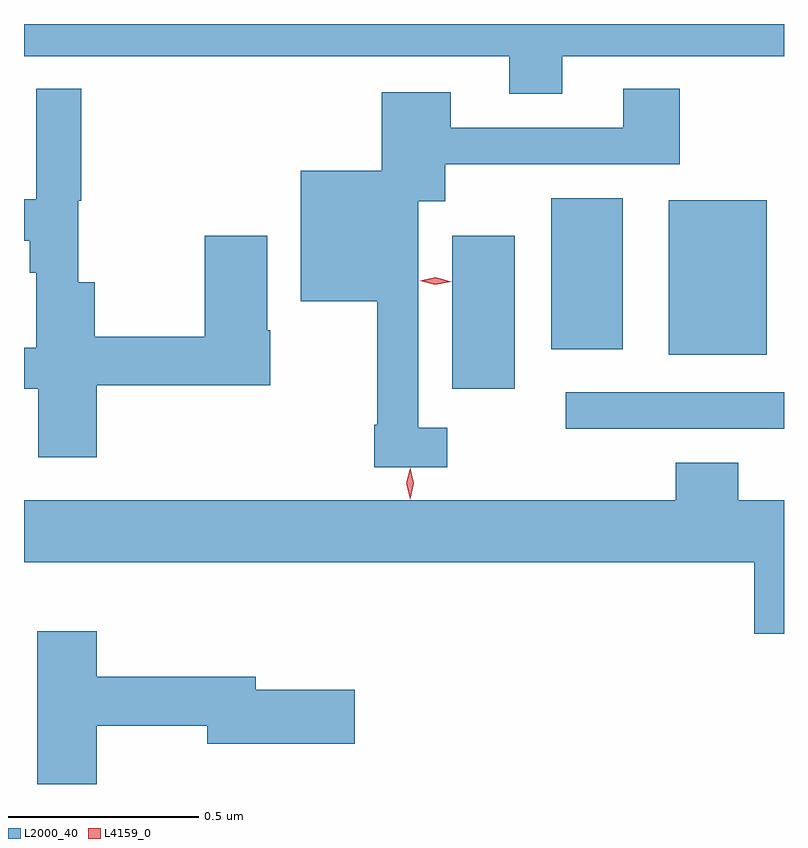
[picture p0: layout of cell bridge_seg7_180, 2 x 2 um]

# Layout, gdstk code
import gdstk
lib = gdstk.Library(unit=1e-6, precision=1e-09)
def R(c, l, rs):  # rectangles x0, y0, x1, y1
    for r in rs: c.add(gdstk.rectangle(r[:2], r[2:], *l))
def P(c, l, *ps):  # polygons
    for p in ps: c.add(gdstk.Polygon(p, *l))
L2000_40 = (2000, 40)
L4159_0 = (4159, 0)

bridge_seg7_180 = lib.new_cell('bridge_seg7_180')
R(bridge_seg7_180, L2000_40, [(452.223,1043.592,452.798,1043.688), (451.925,1043.697,452.089,1044.1), (452.495,1043.786,452.752,1044.193), (452.186,1043.801,452.374,1044.199)])
P(bridge_seg7_180, L2000_40, [(452.215,1044.572),(452.798,1044.572),(452.798,1044.657),(450.798,1044.657),(450.798,1044.572),(452.075,1044.572),(452.075,1044.473),(452.215,1044.473)],
  [(451.912,1043.595),(451.836,1043.595),(451.836,1044.191),(451.906,1044.191),(451.906,1044.288),(452.523,1044.288),(452.523,1044.487),(452.375,1044.487),(452.375,1044.384),(451.921,1044.384),(451.921,1044.478),(451.739,1044.478),(451.739,1044.271),(451.526,1044.271),(451.526,1043.927),(451.728,1043.927),(451.728,1043.602),(451.72,1043.602),(451.72,1043.49),(451.912,1043.49)],
  [(450.989,1043.706),(451.446,1043.706),(451.446,1043.851),(451.438,1043.851),(451.438,1044.1),(451.273,1044.1),(451.273,1043.834),(450.984,1043.834),(450.984,1043.977),(450.941,1043.977),(450.941,1044.192),(450.949,1044.192),(450.949,1044.487),(450.83,1044.487),(450.83,1044.196),(450.798,1044.196),(450.798,1044.087),(450.813,1044.087),(450.813,1044.002),(450.83,1044.002),(450.83,1043.805),(450.798,1043.805),(450.798,1043.697),(450.836,1043.697),(450.836,1043.517),(450.989,1043.517)],
  [(452.798,1043.404),(452.678,1043.404),(452.678,1043.503),(452.513,1043.503),(452.513,1043.404),(450.798,1043.404),(450.798,1043.24),(452.72,1043.24),(452.72,1043.052),(452.798,1043.052)],
  [(450.989,1042.81),(451.28,1042.81),(451.28,1042.763),(451.669,1042.763),(451.669,1042.905),(451.408,1042.905),(451.408,1042.939),(450.989,1042.939),(450.989,1043.059),(450.833,1043.059),(450.833,1042.657),(450.989,1042.657)])
P(bridge_seg7_180, L4159_0, [(451.88,1043.971),(451.84,1043.982),(451.84,1043.982),(451.84,1043.982),(451.881,1043.99),(451.922,1043.979),(451.922,1043.979),(451.922,1043.979)],
  [(451.814,1043.407),(451.814,1043.407),(451.804,1043.448),(451.814,1043.488),(451.814,1043.489),(451.814,1043.488),(451.824,1043.448),(451.814,1043.407)])

lib.write_gds('bridge_seg7_180.gds')
